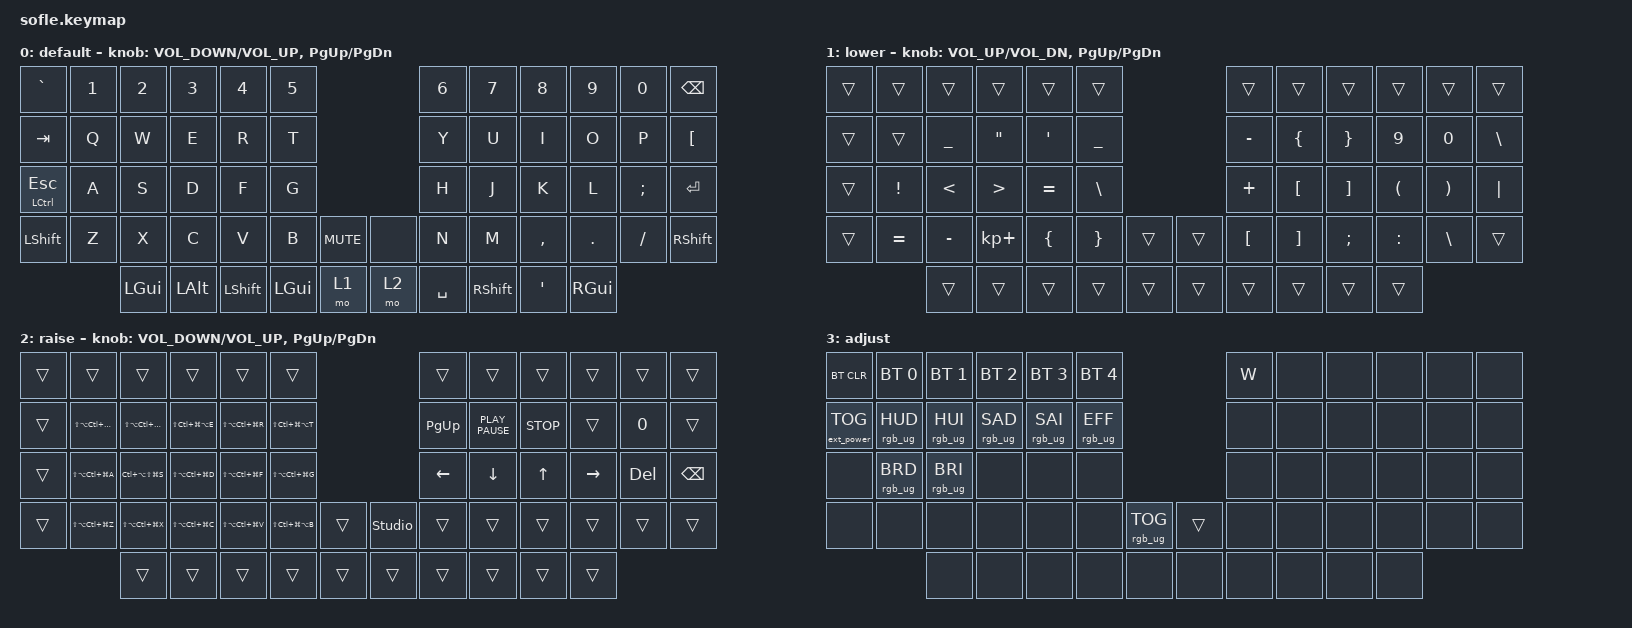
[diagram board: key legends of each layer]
/*
 * Copyright (c) 2020 The ZMK Contributors
 *
 * SPDX-License-Identifier: MIT
 */

#include <behaviors.dtsi>
#include <dt-bindings/zmk/bt.h>
#include <dt-bindings/zmk/ext_power.h>
#include <dt-bindings/zmk/keys.h>
#include <dt-bindings/zmk/rgb.h>

#define BASE 0
#define LOWER 1
#define RAISE 2
#define ADJUST 3

/ {
    // Activate ADJUST layer by pressing raise and lower

    conditional_layers {
        compatible = "zmk,conditional-layers";

        adjust_layer {
            if-layers = <LOWER RAISE>;
            then-layer = <ADJUST>;
        };
    };

    behaviors {
        hold_tap: hold_tap {
            compatible = "zmk,behavior-hold-tap";
            label = "HOLD_TAP";
            bindings = <&kp>, <&kp>;

            #binding-cells = <2>;
            tapping-term-ms = <150>;
        };
    };

    keymap {
        compatible = "zmk,keymap";

        default_layer {
            label = "default";

            // ------------------------------------------------------------------------------------------------------------
            // |   `   |  1  |  2  |  3   |  4   |  5   |                   |  6   |  7    |  8    |  9   |   0   |       |
            // |  ESC  |  Q  |  W  |  E   |  R   |  T   |                   |  Y   |  U    |  I    |  O   |   P   | BKSPC |
            // |  TAB  |  A  |  S  |  D   |  F   |  G   |                   |  H   |  J    |  K    |  L   |   ;   |   '   |
            // | SHIFT |  Z  |  X  |  C   |  V   |  B   |  MUTE  |  |       |  N   |  M    |  ,    |  .   |   /   | SHIFT |
            //               | GUI | ALT  | CTRL | LOWER|  ENTER |  | SPACE | RAISE| CTRL  | ALT   | GUI  |

            bindings = <
&kp GRAVE         &kp N1  &kp N2    &kp N3    &kp N4          &kp N5                         &kp N6     &kp N7           &kp N8     &kp N9    &kp N0    &kp BACKSPACE
&kp TAB           &kp Q   &kp W     &kp E     &kp R           &kp T                          &kp Y      &kp U            &kp I      &kp O     &kp P     &kp LEFT_BRACKET
&mt LCTRL ESCAPE  &kp A   &kp S     &kp D     &kp F           &kp G                          &kp H      &kp J            &kp K      &kp L     &kp SEMI  &kp RETURN
&kp LSHFT         &kp Z   &kp X     &kp C     &kp V           &kp B     &kp C_MUTE    &none  &kp N      &kp M            &kp COMMA  &kp DOT   &kp FSLH  &kp RSHFT
                          &kp LGUI  &kp LALT  &kp LEFT_SHIFT  &kp LGUI  &mo 1         &mo 2  &kp SPACE  &kp RIGHT_SHIFT  &kp SQT    &kp RGUI
            >;

            sensor-bindings =
                <&inc_dec_kp C_VOLUME_DOWN C_VOLUME_UP>,
                <&inc_dec_kp PG_UP PG_DN>;
        };

        lower_layer {
            label = "lower";

            // TODO: Some binds are waiting for shifted keycode support.
            // ------------------------------------------------------------------------------------------------------------
            // |       |  F1 |  F2 |  F3  |  F4  |  F5  |                   |  F6  |  F7   |  F8   |  F9  |  F10  |  F11  |
            // |   `   |  1  |  2  |  3   |  4   |  5   |                   |  6   |  7    |  8    |  9   |   0   |  F12  |
            // |       |  !  |  @  |  #   |  $   |  %   |                   |  ^   |  &    |  *    |  (   |   )   |   |   |
            // |       |  =  |  -  |  +   |  {   |  }   |        |  |       |  [   |  ]    |  ;    |  :   |   \   |       |
            //               |     |      |      |      |        |  |       |      |       |       |      |

            bindings = <
&trans  &trans     &trans          &trans             &trans            &trans                            &trans     &trans            &trans             &trans     &trans    &trans
&trans  &trans     &kp UNDERSCORE  &kp DOUBLE_QUOTES  &kp SINGLE_QUOTE  &kp UNDERSCORE                    &kp MINUS  &kp LEFT_BRACE    &kp RIGHT_BRACE    &kp N9     &kp N0    &kp BACKSLASH
&trans  &kp EXCL   &kp LESS_THAN   &kp GREATER_THAN   &kp EQUAL         &kp BACKSLASH                     &kp PLUS   &kp LEFT_BRACKET  &kp RIGHT_BRACKET  &kp LPAR   &kp RPAR  &kp PIPE
&trans  &kp EQUAL  &kp MINUS       &kp KP_PLUS        &kp LBRC          &kp RBRC        &trans    &trans  &kp LBKT   &kp RBKT          &kp SEMI           &kp COLON  &kp BSLH  &trans
                   &trans          &trans             &trans            &trans          &trans    &trans  &trans     &trans            &trans             &trans
            >;

            sensor-bindings = <&inc_dec_kp C_VOL_UP C_VOL_DN &inc_dec_kp PG_UP PG_DN>;
        };

        raise_layer {
            label = "raise";

            // ------------------------------------------------------------------------------------------------------------
            // | BTCLR | BT1  | BT2  |  BT3  |  BT4  |  BT5 |                |      |      |       |      |       |       |
            // |       | INS  | PSCR | GUI   |       |      |                | PGUP |      |   ^   |      |       |       |
            // |       | ALT  | CTRL | SHIFT |       | CAPS |                | PGDN |   <- |   v   |  ->  |  DEL  | BKSPC |
            // |       | UNDO | CUT  | COPY  | PASTE |      |      |  |      |      |      |       |      |       |       |
            //                |      |       |       |      |      |  |      |      |      |       |      |

            bindings = <
&trans  &trans                 &trans                 &trans                 &trans                 &trans                                           &trans          &trans            &trans        &trans           &trans   &trans
&trans  &kp LS(LA(LC(LG(Q))))  &kp LS(LA(LC(LG(W))))  &kp LS(LC(LG(LA(E))))  &kp LS(LA(LC(LG(R))))  &kp LS(LC(LG(LA(T))))                            &kp PG_UP       &kp K_PLAY_PAUSE  &kp K_STOP    &trans           &kp N0   &trans
&trans  &kp LS(LA(LC(LG(A))))  &kp LC(LA(LS(LG(S))))  &kp LS(LA(LC(LG(D))))  &kp LS(LA(LC(LG(F))))  &kp LS(LA(LC(LG(G))))                            &kp LEFT_ARROW  &kp DOWN_ARROW    &kp UP_ARROW  &kp RIGHT_ARROW  &kp DEL  &kp BSPC
&trans  &kp LS(LA(LC(LG(Z))))  &kp LS(LA(LC(LG(X))))  &kp LS(LA(LC(LG(C))))  &kp LS(LA(LC(LG(V))))  &kp LS(LC(LG(LA(B))))  &trans    &studio_unlock  &trans          &trans            &trans        &trans           &trans   &trans
                               &trans                 &trans                 &trans                 &trans                 &trans    &trans          &trans          &trans            &trans        &trans
            >;

            sensor-bindings =
                <&inc_dec_kp C_VOLUME_DOWN C_VOLUME_UP>,
                <&inc_dec_kp PG_UP PG_DN>;
        };

        adjust_layer {
            // ----------------------------------------------------------------------------------------------------------------------------
            // | BTCLR  |  BT1    |  BT2    |   BT3   |   BT4   |   BT5   |                  |      |      |       |      |       |       |
            // | EXTPWR | RGB_HUD | RGB_HUI | RGB_SAD | RGB_SAI | RGB_EFF |                  |      |      |       |      |       |       |
            // |        | RGB_BRD | RGB_BRI |         |         |         |                  |      |      |       |      |       |       |
            // |        |         |         |         |         |         | RGB_TOG | |      |      |      |       |      |       |       |
            //                    |         |         |         |         |         | |      |      |      |       |      |

            label = "adjust";
            bindings = <
&bt BT_CLR         &bt BT_SEL 0     &bt BT_SEL 1     &bt BT_SEL 2     &bt BT_SEL 3     &bt BT_SEL 4                                &kp W  &none  &none  &none  &none  &none
&ext_power EP_TOG  &rgb_ug RGB_HUD  &rgb_ug RGB_HUI  &rgb_ug RGB_SAD  &rgb_ug RGB_SAI  &rgb_ug RGB_EFF                             &none  &none  &none  &none  &none  &none
&none              &rgb_ug RGB_BRD  &rgb_ug RGB_BRI  &none            &none            &none                                       &none  &none  &none  &none  &none  &none
&none              &none            &none            &none            &none            &none            &rgb_ug RGB_TOG    &trans  &none  &none  &none  &none  &none  &none
                                    &none            &none            &none            &none            &none              &none   &none  &none  &none  &none
            >;
        };
    };
};
